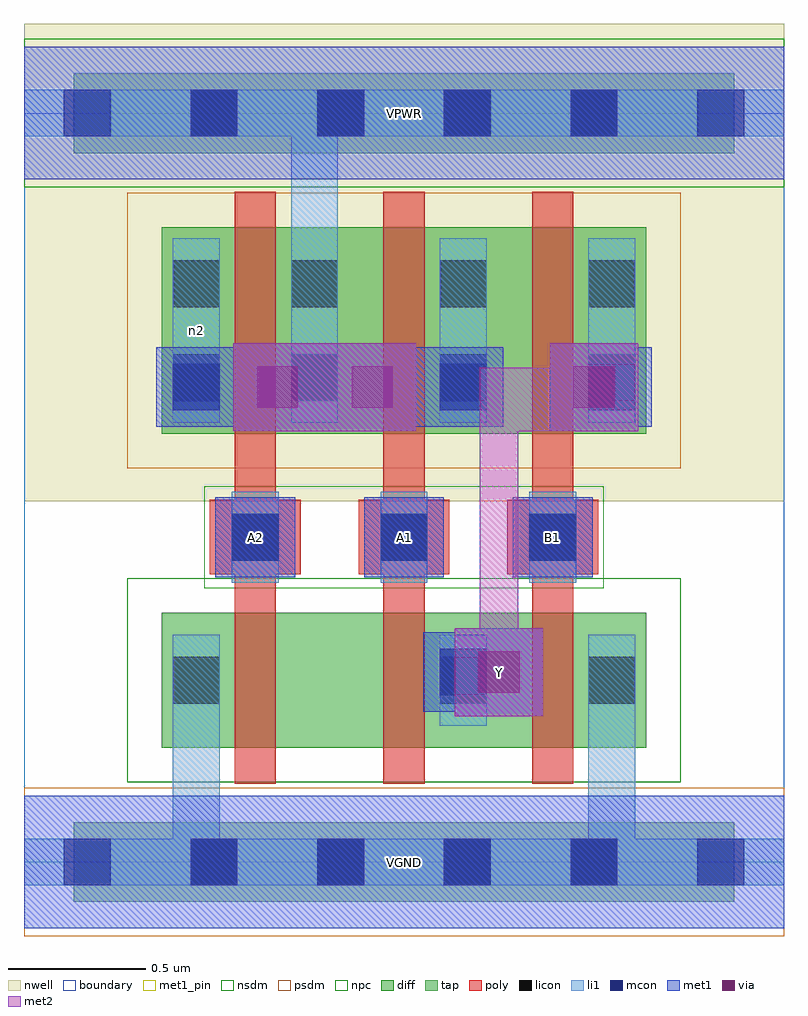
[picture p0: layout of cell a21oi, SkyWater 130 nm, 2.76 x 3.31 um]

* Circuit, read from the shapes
.subckt a21oi A1 A2 B1 VGND VPWR Y n2
XM1 n1 A2 VGND VGND sky130_fd_pr__nfet_01v8 w=0.49 l=0.15
XM2 Y A1 n1 VGND sky130_fd_pr__nfet_01v8 w=0.49 l=0.15
XM3 VGND B1 Y VGND sky130_fd_pr__nfet_01v8 w=0.49 l=0.15
XM4 VPWR A2 n2 VPWR sky130_fd_pr__pfet_01v8 w=0.75 l=0.15
XM5 n2 A1 VPWR VPWR sky130_fd_pr__pfet_01v8 w=0.75 l=0.15
XM6 Y B1 n2 VPWR sky130_fd_pr__pfet_01v8 w=0.75 l=0.15
.ends

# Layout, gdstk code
import gdstk
lib = gdstk.Library(unit=1e-6, precision=1e-09)
def R(c, l, rs):  # rectangles x0, y0, x1, y1
    for r in rs: c.add(gdstk.rectangle(r[:2], r[2:], *l))
def A(c, l, x, y, w, h, nx, ny, dx, dy):  # array of equal rectangles
    R(c, l, [(x+i*dx, y+j*dy, x+i*dx+w, y+j*dy+h) for i in range(nx) for j in range(ny)])
nwell = (64, 20)
diff = (65, 20)
tap = (65, 44)
poly = (66, 20)
licon = (66, 44)
li1 = (67, 20)
mcon = (67, 44)
met1_pin = (68, 16)
met1 = (68, 20)
via = (68, 44)
met2 = (69, 20)
nsdm = (93, 44)
psdm = (94, 20)
npc = (95, 20)
boundary = (235, 4)

a21oi = lib.new_cell('a21oi')
R(a21oi, nwell, [(0,1.31,2.76,3.045)])
R(a21oi, diff, [(0.5,0.415,2.26,0.905), (0.5,1.555,2.26,2.305)])
R(a21oi, tap, [(0.18,-0.145,2.58,0.145), (0.18,2.575,2.58,2.865)])
A(a21oi, poly, 0.765, 0.285, 0.15, 2.15, 3, 1, 0.54, 0)
A(a21oi, poly, 0.675, 1.045, 0.33, 0.27, 3, 1, 0.54, 0)
A(a21oi, licon, 0.605, -0.085, 0.17, 0.17, 4, 2, 0.46, 2.72)
A(a21oi, licon, 0.755, 1.095, 0.17, 0.17, 3, 1, 0.54, 0)
A(a21oi, licon, 0.97, 1.675, 0.17, 0.17, 3, 2, 0.54, 0.34)
R(a21oi, licon, [(0.54,0.575,0.71,0.745), (1.51,0.575,1.68,0.745), (2.05,0.575,2.22,0.745), (0.54,1.675,0.71,1.845), (0.54,2.015,0.71,2.185)])
A(a21oi, li1, 0.755, 1.015, 0.17, 0.33, 3, 1, 0.54, 0)
A(a21oi, li1, 0.97, 1.595, 0.17, 0.67, 3, 1, 0.54, 0)
R(a21oi, li1, [(0,-0.085,2.76,0.085), (0.54,-0.085,0.71,0.825), (2.05,-0.085,2.22,0.825), (0.54,0.495,0.71,0.825), (1.51,0.495,1.68,0.825), (2.05,0.495,2.22,0.825), (0.54,1.595,0.71,2.265), (0.97,1.595,1.14,2.805), (0,2.635,2.76,2.805)])
A(a21oi, mcon, 0.145, -0.085, 0.17, 0.17, 6, 2, 0.46, 2.72)
A(a21oi, mcon, 0.755, 1.095, 0.17, 0.17, 3, 1, 0.54, 0)
R(a21oi, mcon, [(1.51,0.605,1.68,0.775), (0.54,1.64,0.71,1.81), (1.51,1.64,1.68,1.81), (2.05,1.64,2.22,1.81)])
A(a21oi, met1_pin, 0.695, 1.035, 0.29, 0.29, 3, 1, 0.54, 0)
R(a21oi, met1_pin, [(0,-0.24,2.76,0.24), (1.565,0.53,1.885,0.85), (0,2.48,2.76,2.96)])
A(a21oi, met1, 0.695, 1.035, 0.29, 0.29, 3, 1, 0.54, 0)
R(a21oi, met1, [(0,-0.24,2.76,0.24), (1.565,0.53,1.885,0.85), (1.45,0.545,1.74,0.835), (1.525,0.62,1.795,0.76), (0.76,1.565,1.08,1.885), (1.08,1.565,1.105,1.885), (1.105,1.565,1.425,1.885), (1.91,1.565,2.23,1.885), (0.48,1.58,0.77,1.87), (1.425,1.58,1.45,1.87), (1.45,1.58,1.74,1.87), (1.99,1.58,2.28,1.87), (0.555,1.655,0.875,1.795), (0.735,1.655,0.99,1.795), (0.99,1.655,1.105,1.795), (1.08,1.655,1.195,1.795), (1.195,1.655,1.565,1.795), (1.425,1.655,1.665,1.795), (2,1.655,2.205,1.795), (0,2.48,2.76,2.96)])
R(a21oi, via, [(1.65,0.615,1.8,0.765), (0.845,1.65,0.995,1.8), (1.19,1.65,1.34,1.8), (1.995,1.65,2.145,1.8)])
R(a21oi, met2, [(1.565,0.53,1.885,0.85), (1.655,0.62,1.795,1.795), (0.76,1.565,1.08,1.885), (1.08,1.565,1.105,1.885), (1.105,1.565,1.425,1.885), (1.795,1.565,1.91,1.795), (1.91,1.565,2.23,1.885), (0.85,1.655,1.335,1.795), (1.655,1.655,2.14,1.795)])
R(a21oi, nsdm, [(0.375,0.29,2.385,1.03), (0,2.45,2.76,2.99)])
R(a21oi, psdm, [(0,-0.27,2.76,0.27), (0.375,1.43,2.385,2.43)])
R(a21oi, npc, [(0.655,0.995,2.105,1.365)])
R(a21oi, boundary, [(0,0,2.76,2.72)])
a21oi.add(gdstk.Label('n2', (0.625,1.93), layer=67, texttype=5))
a21oi.add(gdstk.Label('A1', (1.38,1.18), layer=68, texttype=5))
a21oi.add(gdstk.Label('A2', (0.84,1.18), layer=68, texttype=5))
a21oi.add(gdstk.Label('B1', (1.92,1.18), layer=68, texttype=5))
a21oi.add(gdstk.Label('Y', (1.725,0.69), layer=68, texttype=5))
a21oi.add(gdstk.Label('VPWR', (1.38,2.72), layer=68, texttype=5))
a21oi.add(gdstk.Label('VGND', (1.38,0), layer=68, texttype=5))
a21oi.add(gdstk.Label('A1', (1.38,1.18), layer=68, texttype=16))
a21oi.add(gdstk.Label('A2', (0.84,1.18), layer=68, texttype=16))
a21oi.add(gdstk.Label('B1', (1.92,1.18), layer=68, texttype=16))
a21oi.add(gdstk.Label('Y', (1.725,0.69), layer=68, texttype=16))
a21oi.add(gdstk.Label('VPWR', (1.38,2.72), layer=68, texttype=16))
a21oi.add(gdstk.Label('VGND', (1.38,0), layer=68, texttype=16))

lib.write_gds('a21oi.gds')
